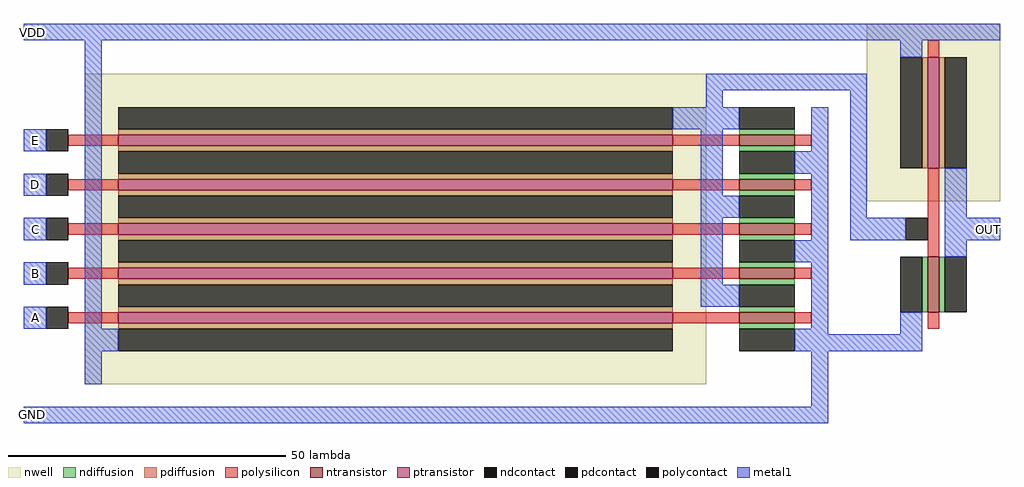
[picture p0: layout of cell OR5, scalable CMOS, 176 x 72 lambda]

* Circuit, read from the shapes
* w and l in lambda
.subckt OR5 A B C D E GND OUT VDD
M1 n1 A GND VSUBS nfet w=10 l=2
M2 GND B n1 VSUBS nfet w=10 l=2
M3 n1 C GND VSUBS nfet w=10 l=2
M4 GND D n1 VSUBS nfet w=10 l=2
M5 n1 E GND VSUBS nfet w=10 l=2
M6 OUT n1 GND VSUBS nfet w=10 l=2
M7 n2 A VDD n3 pfet w=100 l=2
M8 n4 B n2 n3 pfet w=100 l=2
M9 n5 C n4 n3 pfet w=100 l=2
M10 n6 D n5 n3 pfet w=100 l=2
M11 n1 E n6 n3 pfet w=100 l=2
M12 OUT n1 VDD n7 pfet w=20 l=2
.ends

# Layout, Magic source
magic
tech scmos
<< nwell >>
rect 11 0 123 56
rect 152 33 176 65
<< ntransistor >>
rect 129 43 139 45
rect 129 35 139 37
rect 129 27 139 29
rect 129 19 139 21
rect 163 13 165 23
rect 129 11 139 13
<< ptransistor >>
rect 17 43 117 45
rect 163 39 165 59
rect 17 35 117 37
rect 17 27 117 29
rect 17 19 117 21
rect 17 11 117 13
<< ndiffusion >>
rect 129 45 139 46
rect 129 42 139 43
rect 129 37 139 38
rect 129 34 139 35
rect 129 29 139 30
rect 129 26 139 27
rect 129 21 139 22
rect 129 18 139 19
rect 129 13 139 14
rect 162 13 163 23
rect 165 13 166 23
rect 129 10 139 11
<< pdiffusion >>
rect 17 45 117 46
rect 17 42 117 43
rect 17 37 117 38
rect 162 39 163 59
rect 165 39 166 59
rect 17 34 117 35
rect 17 29 117 30
rect 17 26 117 27
rect 17 21 117 22
rect 17 18 117 19
rect 17 13 117 14
rect 17 10 117 11
<< ndcontact >>
rect 129 46 139 50
rect 129 38 139 42
rect 129 30 139 34
rect 129 22 139 26
rect 129 14 139 18
rect 158 13 162 23
rect 166 13 170 23
rect 129 6 139 10
<< pdcontact >>
rect 17 46 117 50
rect 17 38 117 42
rect 158 39 162 59
rect 166 39 170 59
rect 17 30 117 34
rect 17 22 117 26
rect 17 14 117 18
rect 17 6 117 10
<< polysilicon >>
rect 163 59 165 62
rect 8 43 17 45
rect 117 43 129 45
rect 139 43 142 45
rect 8 35 17 37
rect 117 35 129 37
rect 139 35 142 37
rect 8 27 17 29
rect 117 27 129 29
rect 139 27 142 29
rect 163 23 165 39
rect 8 19 17 21
rect 117 19 129 21
rect 139 19 142 21
rect 8 11 17 13
rect 117 11 129 13
rect 139 11 142 13
rect 163 10 165 13
<< polycontact >>
rect 4 42 8 46
rect 4 34 8 38
rect 4 26 8 30
rect 4 18 8 22
rect 159 26 163 30
rect 4 10 8 14
<< metal1 >>
rect 0 62 176 65
rect 0 42 4 46
rect 0 34 4 38
rect 0 26 4 30
rect 0 18 4 22
rect 0 10 4 14
rect 11 10 14 62
rect 158 59 162 62
rect 123 53 152 56
rect 123 50 126 53
rect 117 46 129 50
rect 122 34 126 46
rect 142 42 145 50
rect 139 38 145 42
rect 122 30 129 34
rect 122 18 126 30
rect 142 26 145 38
rect 149 30 152 53
rect 166 30 170 39
rect 149 26 159 30
rect 166 26 176 30
rect 139 22 145 26
rect 166 23 170 26
rect 122 14 129 18
rect 142 10 145 22
rect 11 6 17 10
rect 139 9 145 10
rect 158 9 162 13
rect 139 6 162 9
rect 11 0 14 6
rect 142 -4 145 6
rect 0 -7 145 -4
<< labels >>
rlabel metal1 0 10 4 14 3 A
rlabel metal1 0 18 4 22 3 B
rlabel metal1 0 26 4 30 3 C
rlabel metal1 0 34 4 38 3 D
rlabel metal1 0 42 4 46 3 E
rlabel metal1 172 26 176 30 7 OUT
rlabel metal1 0 -7 3 -4 2 GND
rlabel metal1 0 62 3 65 4 VDD
<< end >>
